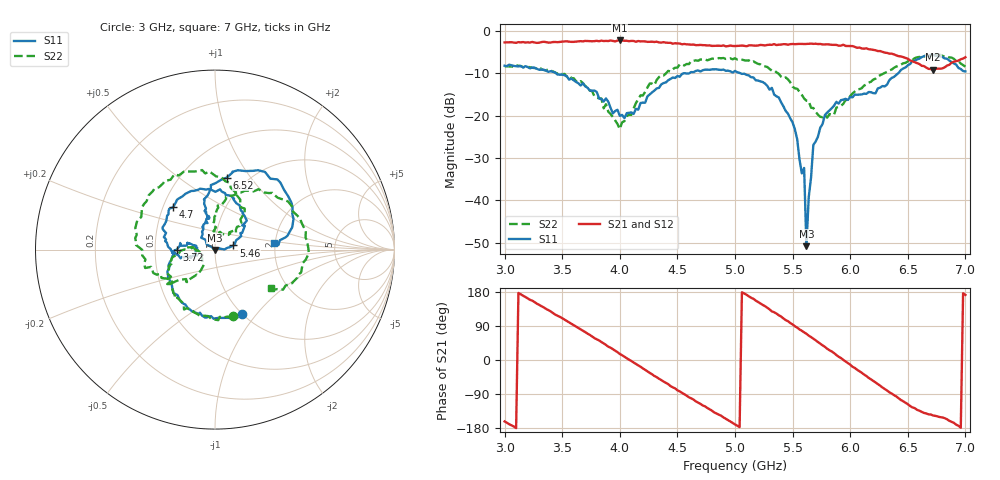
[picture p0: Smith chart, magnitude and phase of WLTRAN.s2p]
!Keysight Technologies N9918A: A.08.15
!Date: Thursday, 07 December 2017 12:39:34
!Timezone: (GMT-08:00) Pacific Time (US & Canada)
!Model: N9918A
!Serial: MY53103150
!GPS Latitude:
!GPS Longitude:
!GPS TimeStamp: 0001-01-01 00:00:00Z
!GPS Seconds Since Last Read: 0
!CHECKSUM:0065265360
!Correction: S11(ON U)S21(ON U)S12(ON U)S22(ON U)
!S2P File: Measurements:S11,S21,S12,S22:
# Hz S DB R 50
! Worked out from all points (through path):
!   201 points, 3 GHz to 7 GHz, reference 50 ohm
!   highest |S21| = -2.26 dB at 4 GHz (marker M1); lowest = -9.2 dB at 6.72 GHz (marker M2)
!   lowest |S11| = -50.8 dB at 5.62 GHz (marker M3), VSWR 1.01, Z = 49.8 - j0.164 ohm
!   |S11| at or under -10 dB: 3.447 GHz to 4.557 GHz (1.11 GHz wide, 27.7 % of centre); 4.566 GHz to 4.602 GHz (35.78 MHz wide, 0.78 % of centre); 5.047 GHz to 6.417 GHz (1.37 GHz wide, 23.9 % of centre)
!   |S22| runs from -23.2 to -5.6 dB; largest |S21 - S12| = 0.02
!   S11 on the Smith chart (normalised r, x): 3 GHz: 1.00, -0.84; 3.72 GHz: 0.65, -0.00; 4.7 GHz: 0.56, +0.30; 5.46 GHz: 1.23, +0.06; 6.52 GHz: 0.81, +0.77; 7 GHz: 1.98, +0.17
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3e9  -8.21 -67.4  -2.72 -162.2  -2.72 -161.9  -8.37 -75.0
3.34e9  -9.18 -122.8  -2.57 138.9  -2.72 138.8  -9.23 -121.9
3.68e9  -12.40 -175.5  -2.47 77.1  -2.49 77.4  -12.31 -169.6
3.72e9  -13.42 -179.5  -2.40 69.6  -2.44 69.7  -13.32 -171.7
4e9  -20.04 174.1  -2.26 16.0  -2.33 16.1  -23.15 -157.1
4.34e9  -13.45 -172.3  -2.72 -49.4  -2.74 -49.1  -10.90 -141.3
4.7e9  -9.58 134.6  -3.30 -115.9  -3.28 -115.8  -6.75 165.1
5e9  -9.44 85.2  -3.58 -170.0  -3.59 -170.8  -6.45 118.4
5.2e9  -11.72 52.6  -3.45 153.0  -3.26 152.5  -7.78 89.2
5.46e9  -19.54 12.6  -3.26 102.4  -3.17 101.2  -11.43 51.9
5.54e9  -25.56 1.0  -3.09 85.5  -3.14 85.2  -13.65 46.8
5.58e9  -33.61 21.1  -3.08 77.2  -3.11 77.1  -15.08 46.0
5.6e9  -32.33 21.7  -3.11 72.8  -3.13 73.0  -15.95 43.1
5.62e9  -50.78 -145.2  -3.07 69.3  -3.09 68.3  -16.47 39.0
5.64e9  -39.24 157.7  -3.01 64.3  -3.06 64.4  -16.54 45.3
5.68e9  -26.88 147.9  -3.06 56.5  -3.19 56.4  -18.19 46.4
5.94e9  -16.22 113.0  -3.27 0.3  -3.46 0.9  -17.22 94.0
6.16e9  -14.41 100.5  -4.33 -47.1  -4.27 -47.1  -12.20 86.6
6.34e9  -11.62 103.3  -5.36 -85.2  -5.24 -83.7  -9.31 69.4
6.52e9  -7.83 80.8  -6.97 -121.4  -6.91 -119.6  -6.95 44.8
6.72e9  -5.65 45.7  -9.17 -146.5  -9.03 -145.2  -5.87 7.6
7e9  -9.57 6.5  -6.22 171.7  -6.28 171.2  -8.44 -34.0
